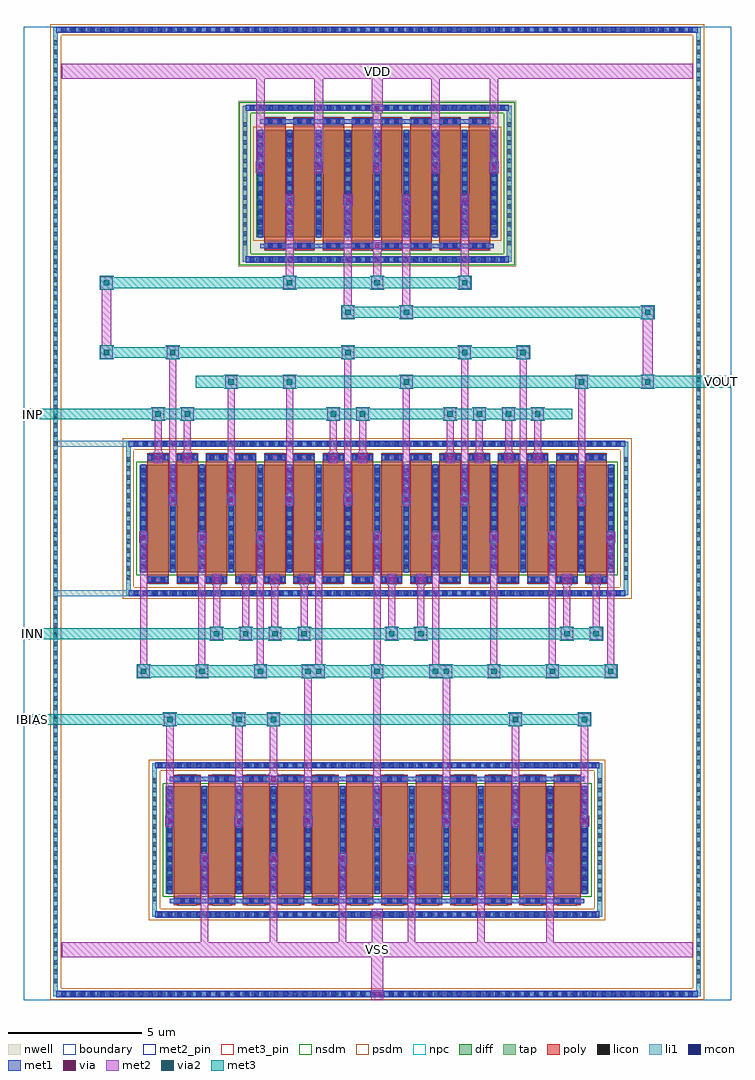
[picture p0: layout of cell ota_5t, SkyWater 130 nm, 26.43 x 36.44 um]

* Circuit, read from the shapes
.subckt ota_5t IBIAS INN INP VDD VOUT VSS
XM1 n1 INP n2 VSS sky130_fd_pr__nfet_01v8 w=4 l=0.8 m=8
XM2 VSS IBIAS IBIAS VSS sky130_fd_pr__nfet_01v8 w=4 l=1 m=6
XM3 VOUT INN n2 VSS sky130_fd_pr__nfet_01v8 w=4 l=0.8 m=8
XM4 n2 IBIAS VSS VSS sky130_fd_pr__nfet_01v8 w=4 l=1 m=6
XM5 n1 n1 VDD VDD sky130_fd_pr__pfet_01v8 w=4 l=0.8 m=4
XM6 VOUT n1 VDD VDD sky130_fd_pr__pfet_01v8 w=4 l=0.8 m=4
.ends

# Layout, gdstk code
import gdstk
lib = gdstk.Library(unit=1e-6, precision=1e-09)
def R(c, l, rs):  # rectangles x0, y0, x1, y1
    for r in rs: c.add(gdstk.rectangle(r[:2], r[2:], *l))
def A(c, l, x, y, w, h, nx, ny, dx, dy):  # array of equal rectangles
    R(c, l, [(x+i*dx, y+j*dy, x+i*dx+w, y+j*dy+h) for i in range(nx) for j in range(ny)])
nwell = (64, 20)
diff = (65, 20)
tap = (65, 44)
poly = (66, 20)
licon = (66, 44)
li1 = (67, 20)
mcon = (67, 44)
met1 = (68, 20)
via = (68, 44)
met2_pin = (69, 16)
met2 = (69, 20)
via2 = (69, 44)
met3_pin = (70, 16)
met3 = (70, 20)
nsdm = (93, 44)
psdm = (94, 20)
npc = (95, 20)
boundary = (235, 4)

gr_ota = lib.new_cell('gr_ota')
R(gr_ota, tap, [(-12.085,-18.085,12.085,-17.915), (-12.085,-17.915,-11.915,17.915), (11.915,-17.915,12.085,17.915), (-12.085,17.915,12.085,18.085)])
A(gr_ota, licon, -11.475, -18.085, 0.17, 0.17, 68, 2, 0.34, 36)
A(gr_ota, licon, -12.085, -17.595, 0.17, 0.17, 1, 104, 0, 0.34)
A(gr_ota, licon, 11.915, -17.595, 0.17, 0.17, 1, 104, 0, 0.34)
R(gr_ota, li1, [(-12.085,-18.085,12.085,-17.915), (-12.085,-17.915,-11.915,17.915), (11.915,-17.915,12.085,17.915), (-12.085,17.915,12.085,18.085)])
A(gr_ota, mcon, -11.785, -18.085, 0.17, 0.17, 66, 2, 0.36, 36)
R(gr_ota, met1, [(-11.975,-18.115,11.975,-17.885), (-11.975,17.885,11.975,18.115)])
R(gr_ota, psdm, [(-12.21,-18.21,12.21,-17.79), (-12.21,-17.79,-11.79,17.79), (11.79,-17.79,12.21,17.79), (-12.21,17.79,12.21,18.21)])
R(gr_ota, boundary, [(-12,-18,12,18)])

dev_n_ota_m56 = lib.new_cell('dev_n_ota_m56')
R(dev_n_ota_m56, diff, [(-7.885,-2,7.885,2)])
R(dev_n_ota_m56, tap, [(-8.395,-2.87,8.395,-2.7), (-8.395,-2.7,-8.225,2.7), (8.225,-2.7,8.395,2.7), (-8.395,2.7,8.395,2.87)])
A(dev_n_ota_m56, poly, -7.595, -2.44, 1, 4.88, 12, 1, 1.29, 0)
A(dev_n_ota_m56, licon, -7.905, -2.87, 0.17, 0.17, 47, 2, 0.34, 5.57)
A(dev_n_ota_m56, licon, -8.395, -2.295, 0.17, 0.17, 1, 14, 0, 0.34)
A(dev_n_ota_m56, licon, 8.225, -2.295, 0.17, 0.17, 1, 14, 0, 0.34)
A(dev_n_ota_m56, licon, -7.825, -1.785, 0.17, 0.17, 13, 11, 1.29, 0.34)
R(dev_n_ota_m56, licon, [(-7.35,-2.36,-7.18,-2.19), (-7.01,-2.36,-6.84,-2.19), (-6.06,-2.36,-5.89,-2.19), (-5.72,-2.36,-5.55,-2.19), (-4.77,-2.36,-4.6,-2.19), (-4.43,-2.36,-4.26,-2.19), (-3.48,-2.36,-3.31,-2.19), (-3.14,-2.36,-2.97,-2.19), (-2.19,-2.36,-2.02,-2.19), (-1.85,-2.36,-1.68,-2.19), (-0.9,-2.36,-0.73,-2.19), (-0.56,-2.36,-0.39,-2.19), (0.39,-2.36,0.56,-2.19), (0.73,-2.36,0.9,-2.19), (1.68,-2.36,1.85,-2.19), (2.02,-2.36,2.19,-2.19), (2.97,-2.36,3.14,-2.19), (3.31,-2.36,3.48,-2.19), (4.26,-2.36,4.43,-2.19), (4.6,-2.36,4.77,-2.19), (5.55,-2.36,5.72,-2.19), (5.89,-2.36,6.06,-2.19), (6.84,-2.36,7.01,-2.19), (7.18,-2.36,7.35,-2.19), (-7.35,2.19,-7.18,2.36), (-7.01,2.19,-6.84,2.36), (-6.06,2.19,-5.89,2.36), (-5.72,2.19,-5.55,2.36), (-4.77,2.19,-4.6,2.36), (-4.43,2.19,-4.26,2.36), (-3.48,2.19,-3.31,2.36), (-3.14,2.19,-2.97,2.36), (-2.19,2.19,-2.02,2.36), (-1.85,2.19,-1.68,2.36), (-0.9,2.19,-0.73,2.36), (-0.56,2.19,-0.39,2.36), (0.39,2.19,0.56,2.36), (0.73,2.19,0.9,2.36), (1.68,2.19,1.85,2.36), (2.02,2.19,2.19,2.36), (2.97,2.19,3.14,2.36), (3.31,2.19,3.48,2.36), (4.26,2.19,4.43,2.36), (4.6,2.19,4.77,2.36), (5.55,2.19,5.72,2.36), (5.89,2.19,6.06,2.36), (6.84,2.19,7.01,2.36), (7.18,2.19,7.35,2.36)])
A(dev_n_ota_m56, li1, -7.825, -2.02, 0.17, 4.04, 13, 1, 1.29, 0)
R(dev_n_ota_m56, li1, [(-8.395,-2.87,8.395,-2.7), (-8.395,-2.7,-8.225,2.7), (8.225,-2.7,8.395,2.7), (-7.74,-2.36,7.74,-2.19), (-7.74,2.19,7.74,2.36), (-8.395,2.7,8.395,2.87)])
A(dev_n_ota_m56, mcon, -8.185, -2.87, 0.17, 0.17, 46, 2, 0.36, 5.57)
A(dev_n_ota_m56, mcon, -7.825, -1.885, 0.17, 0.17, 13, 11, 1.29, 0.36)
R(dev_n_ota_m56, mcon, [(-7.36,-2.36,-7.19,-2.19), (-7,-2.36,-6.83,-2.19), (-6.07,-2.36,-5.9,-2.19), (-5.71,-2.36,-5.54,-2.19), (-4.78,-2.36,-4.61,-2.19), (-4.42,-2.36,-4.25,-2.19), (-3.49,-2.36,-3.32,-2.19), (-3.13,-2.36,-2.96,-2.19), (-2.2,-2.36,-2.03,-2.19), (-1.84,-2.36,-1.67,-2.19), (-0.91,-2.36,-0.74,-2.19), (-0.55,-2.36,-0.38,-2.19), (0.38,-2.36,0.55,-2.19), (0.74,-2.36,0.91,-2.19), (1.67,-2.36,1.84,-2.19), (2.03,-2.36,2.2,-2.19), (2.96,-2.36,3.13,-2.19), (3.32,-2.36,3.49,-2.19), (4.25,-2.36,4.42,-2.19), (4.61,-2.36,4.78,-2.19), (5.54,-2.36,5.71,-2.19), (5.9,-2.36,6.07,-2.19), (6.83,-2.36,7,-2.19), (7.19,-2.36,7.36,-2.19), (-7.36,2.19,-7.19,2.36), (-7,2.19,-6.83,2.36), (-6.07,2.19,-5.9,2.36), (-5.71,2.19,-5.54,2.36), (-4.78,2.19,-4.61,2.36), (-4.42,2.19,-4.25,2.36), (-3.49,2.19,-3.32,2.36), (-3.13,2.19,-2.96,2.36), (-2.2,2.19,-2.03,2.36), (-1.84,2.19,-1.67,2.36), (-0.91,2.19,-0.74,2.36), (-0.55,2.19,-0.38,2.36), (0.38,2.19,0.55,2.36), (0.74,2.19,0.91,2.36), (1.67,2.19,1.84,2.36), (2.03,2.19,2.2,2.36), (2.96,2.19,3.13,2.36), (3.32,2.19,3.49,2.36), (4.25,2.19,4.42,2.36), (4.61,2.19,4.78,2.36), (5.54,2.19,5.71,2.36), (5.9,2.19,6.07,2.36), (6.83,2.19,7,2.36), (7.19,2.19,7.36,2.36)])
A(dev_n_ota_m56, met1, -7.575, -2.39, 0.96, 0.03, 12, 2, 1.29, 0.2)
A(dev_n_ota_m56, met1, -7.855, -2, 0.23, 4, 13, 1, 1.29, 0)
A(dev_n_ota_m56, met1, -7.575, 2.16, 0.96, 0.03, 12, 2, 1.29, 0.2)
R(dev_n_ota_m56, met1, [(-8.285,-2.9,8.285,-2.67), (-7.74,-2.36,7.74,-2.19), (-7.74,2.19,7.74,2.36), (-8.285,2.67,8.285,2.9)])
R(dev_n_ota_m56, nsdm, [(-8.01,-2.125,8.01,2.125)])
R(dev_n_ota_m56, psdm, [(-8.52,-2.995,8.52,-2.575), (-8.52,-2.575,-8.1,2.575), (8.1,-2.575,8.52,2.575), (-8.52,2.575,8.52,2.995)])
A(dev_n_ota_m56, npc, -7.45, -2.46, 0.71, 0.37, 12, 2, 1.29, 4.55)
R(dev_n_ota_m56, boundary, [(-8.31,-2.785,8.31,2.785)])

dev_n_ota_m12 = lib.new_cell('dev_n_ota_m12')
R(dev_n_ota_m12, diff, [(-8.865,-2,8.865,2)])
R(dev_n_ota_m12, tap, [(-9.375,-2.87,9.375,-2.7), (-9.375,-2.7,-9.205,2.7), (9.205,-2.7,9.375,2.7), (-9.375,2.7,9.375,2.87)])
A(dev_n_ota_m12, poly, -8.575, -2.44, 0.8, 4.88, 16, 1, 1.09, 0)
A(dev_n_ota_m12, licon, -8.755, -2.87, 0.17, 0.17, 52, 2, 0.34, 5.57)
A(dev_n_ota_m12, licon, -9.375, -2.295, 0.17, 0.17, 1, 14, 0, 0.34)
A(dev_n_ota_m12, licon, 9.205, -2.295, 0.17, 0.17, 1, 14, 0, 0.34)
A(dev_n_ota_m12, licon, -8.805, -1.785, 0.17, 0.17, 17, 11, 1.09, 0.34)
R(dev_n_ota_m12, licon, [(-8.43,-2.36,-8.26,-2.19), (-8.09,-2.36,-7.92,-2.19), (-7.34,-2.36,-7.17,-2.19), (-7,-2.36,-6.83,-2.19), (-6.25,-2.36,-6.08,-2.19), (-5.91,-2.36,-5.74,-2.19), (-5.16,-2.36,-4.99,-2.19), (-4.82,-2.36,-4.65,-2.19), (-4.07,-2.36,-3.9,-2.19), (-3.73,-2.36,-3.56,-2.19), (-2.98,-2.36,-2.81,-2.19), (-2.64,-2.36,-2.47,-2.19), (-1.89,-2.36,-1.72,-2.19), (-1.55,-2.36,-1.38,-2.19), (-0.8,-2.36,-0.63,-2.19), (-0.46,-2.36,-0.29,-2.19), (0.29,-2.36,0.46,-2.19), (0.63,-2.36,0.8,-2.19), (1.38,-2.36,1.55,-2.19), (1.72,-2.36,1.89,-2.19), (2.47,-2.36,2.64,-2.19), (2.81,-2.36,2.98,-2.19), (3.56,-2.36,3.73,-2.19), (3.9,-2.36,4.07,-2.19), (4.65,-2.36,4.82,-2.19), (4.99,-2.36,5.16,-2.19), (5.74,-2.36,5.91,-2.19), (6.08,-2.36,6.25,-2.19), (6.83,-2.36,7,-2.19), (7.17,-2.36,7.34,-2.19), (7.92,-2.36,8.09,-2.19), (8.26,-2.36,8.43,-2.19), (-8.43,2.19,-8.26,2.36), (-8.09,2.19,-7.92,2.36), (-7.34,2.19,-7.17,2.36), (-7,2.19,-6.83,2.36), (-6.25,2.19,-6.08,2.36), (-5.91,2.19,-5.74,2.36), (-5.16,2.19,-4.99,2.36), (-4.82,2.19,-4.65,2.36), (-4.07,2.19,-3.9,2.36), (-3.73,2.19,-3.56,2.36), (-2.98,2.19,-2.81,2.36), (-2.64,2.19,-2.47,2.36), (-1.89,2.19,-1.72,2.36), (-1.55,2.19,-1.38,2.36), (-0.8,2.19,-0.63,2.36), (-0.46,2.19,-0.29,2.36), (0.29,2.19,0.46,2.36), (0.63,2.19,0.8,2.36), (1.38,2.19,1.55,2.36), (1.72,2.19,1.89,2.36), (2.47,2.19,2.64,2.36), (2.81,2.19,2.98,2.36), (3.56,2.19,3.73,2.36), (3.9,2.19,4.07,2.36), (4.65,2.19,4.82,2.36), (4.99,2.19,5.16,2.36), (5.74,2.19,5.91,2.36), (6.08,2.19,6.25,2.36), (6.83,2.19,7,2.36), (7.17,2.19,7.34,2.36), (7.92,2.19,8.09,2.36), (8.26,2.19,8.43,2.36)])
A(dev_n_ota_m12, li1, -8.575, -2.36, 0.8, 0.17, 16, 2, 1.09, 4.55)
A(dev_n_ota_m12, li1, -8.805, -2.02, 0.17, 4.04, 17, 1, 1.09, 0)
R(dev_n_ota_m12, li1, [(-9.375,-2.87,9.375,-2.7), (-9.375,-2.7,-9.205,2.7), (9.205,-2.7,9.375,2.7), (-9.375,2.7,9.375,2.87)])
A(dev_n_ota_m12, mcon, -9.085, -2.87, 0.17, 0.17, 51, 2, 0.36, 5.57)
A(dev_n_ota_m12, mcon, -8.805, -1.885, 0.17, 0.17, 17, 11, 1.09, 0.36)
R(dev_n_ota_m12, mcon, [(-8.44,-2.36,-8.27,-2.19), (-8.08,-2.36,-7.91,-2.19), (-7.35,-2.36,-7.18,-2.19), (-6.99,-2.36,-6.82,-2.19), (-6.26,-2.36,-6.09,-2.19), (-5.9,-2.36,-5.73,-2.19), (-5.17,-2.36,-5,-2.19), (-4.81,-2.36,-4.64,-2.19), (-4.08,-2.36,-3.91,-2.19), (-3.72,-2.36,-3.55,-2.19), (-2.99,-2.36,-2.82,-2.19), (-2.63,-2.36,-2.46,-2.19), (-1.9,-2.36,-1.73,-2.19), (-1.54,-2.36,-1.37,-2.19), (-0.81,-2.36,-0.64,-2.19), (-0.45,-2.36,-0.28,-2.19), (0.28,-2.36,0.45,-2.19), (0.64,-2.36,0.81,-2.19), (1.37,-2.36,1.54,-2.19), (1.73,-2.36,1.9,-2.19), (2.46,-2.36,2.63,-2.19), (2.82,-2.36,2.99,-2.19), (3.55,-2.36,3.72,-2.19), (3.91,-2.36,4.08,-2.19), (4.64,-2.36,4.81,-2.19), (5,-2.36,5.17,-2.19), (5.73,-2.36,5.9,-2.19), (6.09,-2.36,6.26,-2.19), (6.82,-2.36,6.99,-2.19), (7.18,-2.36,7.35,-2.19), (7.91,-2.36,8.08,-2.19), (8.27,-2.36,8.44,-2.19), (-8.44,2.19,-8.27,2.36), (-8.08,2.19,-7.91,2.36), (-7.35,2.19,-7.18,2.36), (-6.99,2.19,-6.82,2.36), (-6.26,2.19,-6.09,2.36), (-5.9,2.19,-5.73,2.36), (-5.17,2.19,-5,2.36), (-4.81,2.19,-4.64,2.36), (-4.08,2.19,-3.91,2.36), (-3.72,2.19,-3.55,2.36), (-2.99,2.19,-2.82,2.36), (-2.63,2.19,-2.46,2.36), (-1.9,2.19,-1.73,2.36), (-1.54,2.19,-1.37,2.36), (-0.81,2.19,-0.64,2.36), (-0.45,2.19,-0.28,2.36), (0.28,2.19,0.45,2.36), (0.64,2.19,0.81,2.36), (1.37,2.19,1.54,2.36), (1.73,2.19,1.9,2.36), (2.46,2.19,2.63,2.36), (2.82,2.19,2.99,2.36), (3.55,2.19,3.72,2.36), (3.91,2.19,4.08,2.36), (4.64,2.19,4.81,2.36), (5,2.19,5.17,2.36), (5.73,2.19,5.9,2.36), (6.09,2.19,6.26,2.36), (6.82,2.19,6.99,2.36), (7.18,2.19,7.35,2.36), (7.91,2.19,8.08,2.36), (8.27,2.19,8.44,2.36)])
A(dev_n_ota_m12, met1, -8.555, -2.39, 0.76, 0.23, 16, 2, 1.09, 4.55)
A(dev_n_ota_m12, met1, -8.835, -2, 0.23, 4, 17, 1, 1.09, 0)
R(dev_n_ota_m12, met1, [(-9.265,-2.9,9.265,-2.67), (-9.265,2.67,9.265,2.9)])
R(dev_n_ota_m12, nsdm, [(-8.99,-2.125,8.99,2.125)])
R(dev_n_ota_m12, psdm, [(-9.5,-2.995,9.5,-2.575), (-9.5,-2.575,-9.08,2.575), (9.08,-2.575,9.5,2.575), (-9.5,2.575,9.5,2.995)])
A(dev_n_ota_m12, npc, -8.53, -2.46, 0.71, 0.37, 16, 2, 1.09, 4.55)
R(dev_n_ota_m12, boundary, [(-9.29,-2.785,9.29,2.785)])

dev_p_ota_m34 = lib.new_cell('dev_p_ota_m34')
R(dev_p_ota_m34, nwell, [(-5.195,-3.095,5.195,3.095)])
R(dev_p_ota_m34, diff, [(-4.505,-2,4.505,2)])
R(dev_p_ota_m34, tap, [(-5.015,-2.915,5.015,-2.745), (-5.015,-2.745,-4.845,2.745), (4.845,-2.745,5.015,2.745), (-5.015,2.745,5.015,2.915)])
A(dev_p_ota_m34, poly, -4.215, -2.485, 0.8, 4.97, 8, 1, 1.09, 0)
A(dev_p_ota_m34, licon, -4.505, -2.915, 0.17, 0.17, 27, 2, 0.34, 5.66)
A(dev_p_ota_m34, licon, -5.015, -2.295, 0.17, 0.17, 1, 14, 0, 0.34)
A(dev_p_ota_m34, licon, 4.845, -2.295, 0.17, 0.17, 1, 14, 0, 0.34)
A(dev_p_ota_m34, licon, -4.445, -1.785, 0.17, 0.17, 9, 11, 1.09, 0.34)
R(dev_p_ota_m34, licon, [(-4.07,-2.405,-3.9,-2.235), (-3.73,-2.405,-3.56,-2.235), (-2.98,-2.405,-2.81,-2.235), (-2.64,-2.405,-2.47,-2.235), (-1.89,-2.405,-1.72,-2.235), (-1.55,-2.405,-1.38,-2.235), (-0.8,-2.405,-0.63,-2.235), (-0.46,-2.405,-0.29,-2.235), (0.29,-2.405,0.46,-2.235), (0.63,-2.405,0.8,-2.235), (1.38,-2.405,1.55,-2.235), (1.72,-2.405,1.89,-2.235), (2.47,-2.405,2.64,-2.235), (2.81,-2.405,2.98,-2.235), (3.56,-2.405,3.73,-2.235), (3.9,-2.405,4.07,-2.235), (-4.07,2.235,-3.9,2.405), (-3.73,2.235,-3.56,2.405), (-2.98,2.235,-2.81,2.405), (-2.64,2.235,-2.47,2.405), (-1.89,2.235,-1.72,2.405), (-1.55,2.235,-1.38,2.405), (-0.8,2.235,-0.63,2.405), (-0.46,2.235,-0.29,2.405), (0.29,2.235,0.46,2.405), (0.63,2.235,0.8,2.405), (1.38,2.235,1.55,2.405), (1.72,2.235,1.89,2.405), (2.47,2.235,2.64,2.405), (2.81,2.235,2.98,2.405), (3.56,2.235,3.73,2.405), (3.9,2.235,4.07,2.405)])
A(dev_p_ota_m34, li1, -4.445, -2.02, 0.17, 4.04, 9, 1, 1.09, 0)
R(dev_p_ota_m34, li1, [(-5.015,-2.915,5.015,-2.745), (-5.015,-2.745,-4.845,2.745), (4.845,-2.745,5.015,2.745), (-4.36,-2.405,4.36,-2.235), (-4.36,2.235,4.36,2.405), (-5.015,2.745,5.015,2.915)])
A(dev_p_ota_m34, mcon, -4.765, -2.915, 0.17, 0.17, 27, 2, 0.36, 5.66)
A(dev_p_ota_m34, mcon, -4.445, -1.885, 0.17, 0.17, 9, 11, 1.09, 0.36)
R(dev_p_ota_m34, mcon, [(-4.08,-2.405,-3.91,-2.235), (-3.72,-2.405,-3.55,-2.235), (-2.99,-2.405,-2.82,-2.235), (-2.63,-2.405,-2.46,-2.235), (-1.9,-2.405,-1.73,-2.235), (-1.54,-2.405,-1.37,-2.235), (-0.81,-2.405,-0.64,-2.235), (-0.45,-2.405,-0.28,-2.235), (0.28,-2.405,0.45,-2.235), (0.64,-2.405,0.81,-2.235), (1.37,-2.405,1.54,-2.235), (1.73,-2.405,1.9,-2.235), (2.46,-2.405,2.63,-2.235), (2.82,-2.405,2.99,-2.235), (3.55,-2.405,3.72,-2.235), (3.91,-2.405,4.08,-2.235), (-4.08,2.235,-3.91,2.405), (-3.72,2.235,-3.55,2.405), (-2.99,2.235,-2.82,2.405), (-2.63,2.235,-2.46,2.405), (-1.9,2.235,-1.73,2.405), (-1.54,2.235,-1.37,2.405), (-0.81,2.235,-0.64,2.405), (-0.45,2.235,-0.28,2.405), (0.28,2.235,0.45,2.405), (0.64,2.235,0.81,2.405), (1.37,2.235,1.54,2.405), (1.73,2.235,1.9,2.405), (2.46,2.235,2.63,2.405), (2.82,2.235,2.99,2.405), (3.55,2.235,3.72,2.405), (3.91,2.235,4.08,2.405)])
A(dev_p_ota_m34, met1, -4.195, -2.435, 0.76, 0.03, 8, 2, 1.09, 0.2)
A(dev_p_ota_m34, met1, -4.475, -2, 0.23, 4, 9, 1, 1.09, 0)
A(dev_p_ota_m34, met1, -4.195, 2.205, 0.76, 0.03, 8, 2, 1.09, 0.2)
R(dev_p_ota_m34, met1, [(-4.905,-2.945,4.905,-2.715), (-4.36,-2.405,4.36,-2.235), (-4.36,2.235,4.36,2.405), (-4.905,2.715,4.905,2.945)])
R(dev_p_ota_m34, nsdm, [(-5.14,-3.04,5.14,-2.62), (-5.14,-2.62,-4.72,2.62), (4.72,-2.62,5.14,2.62), (-5.14,2.62,5.14,3.04)])
R(dev_p_ota_m34, psdm, [(-4.63,-2.125,4.63,2.125)])
A(dev_p_ota_m34, npc, -4.17, -2.505, 0.71, 0.37, 8, 2, 1.09, 4.64)
R(dev_p_ota_m34, boundary, [(-4.93,-2.83,4.93,2.83)])

ota_5t = lib.new_cell('ota_5t')
R(ota_5t, li1, [(-12.1,-2.9,-9.2,-2.67), (-12.1,2.67,-9.2,2.9)])
A(ota_5t, met1, -6.58, -12.91, 0.26, 0.42, 6, 1, 2.58, 0)
A(ota_5t, met1, -7.87, -11.51, 0.26, 0.42, 7, 1, 2.58, 0)
A(ota_5t, met1, -6.195, -2.405, 0.4, 0.26, 4, 1, 1.09, 0)
A(ota_5t, met1, -8.85, -0.91, 0.26, 0.42, 9, 1, 2.18, 0)
A(ota_5t, met1, -7.76, 0.49, 0.26, 0.42, 8, 1, 2.18, 0)
A(ota_5t, met1, 2.525, 2.145, 0.4, 0.26, 4, 1, 1.09, 0)
A(ota_5t, met1, -3.4, 11.69, 0.26, 0.42, 4, 1, 2.18, 0)
A(ota_5t, met1, -4.49, 12.89, 0.26, 0.42, 5, 1, 2.18, 0)
R(ota_5t, met1, [(-0.2,-17.88,0.2,-17.62), (-0.2,-14.915,0.2,-14.655), (-4.07,-9.855,-3.67,-9.595), (0.345,-2.405,0.745,-2.145), (1.435,-2.405,1.835,-2.145), (6.885,-2.405,7.285,-2.145), (7.975,-2.405,8.375,-2.145), (-8.375,2.145,-7.975,2.405), (-7.285,2.145,-6.885,2.405), (-1.835,2.145,-1.435,2.405), (-0.745,2.145,-0.345,2.405), (-0.2,10.05,0.2,10.31), (-0.2,15.2,0.2,15.46)])
A(ota_5t, via, -6.525, -12.775, 0.15, 0.15, 6, 1, 2.58, 0)
A(ota_5t, via, -7.815, -11.375, 0.15, 0.15, 7, 1, 2.58, 0)
A(ota_5t, via, -6.07, -2.35, 0.15, 0.15, 4, 1, 1.09, 0)
A(ota_5t, via, -8.795, -0.775, 0.15, 0.15, 9, 1, 2.18, 0)
A(ota_5t, via, -7.705, 0.625, 0.15, 0.15, 8, 1, 2.18, 0)
A(ota_5t, via, 2.65, 2.2, 0.15, 0.15, 4, 1, 1.09, 0)
A(ota_5t, via, -3.345, 11.825, 0.15, 0.15, 4, 1, 2.18, 0)
A(ota_5t, via, -4.435, 13.025, 0.15, 0.15, 5, 1, 2.18, 0)
R(ota_5t, via, [(-0.075,-17.825,0.075,-17.675), (-0.075,-14.86,0.075,-14.71), (-3.945,-9.8,-3.795,-9.65), (0.47,-2.35,0.62,-2.2), (1.56,-2.35,1.71,-2.2), (7.01,-2.35,7.16,-2.2), (8.1,-2.35,8.25,-2.2), (-8.25,2.2,-8.1,2.35), (-7.16,2.2,-7.01,2.35), (-1.71,2.2,-1.56,2.35), (-0.62,2.2,-0.47,2.35), (-0.075,10.105,0.075,10.255), (-0.075,15.255,0.075,15.405)])
R(ota_5t, met2_pin, [(-0.2,-16.25,0.2,-15.95), (-0.2,16.55,0.2,16.85)])
A(ota_5t, met2, -6.59, -15.825, 0.28, 2.915, 6, 1, 2.58, 0)
A(ota_5t, met2, -6.62, -12.91, 0.34, 0.42, 6, 1, 2.58, 0)
A(ota_5t, met2, -7.91, -11.51, 0.34, 0.42, 7, 1, 2.58, 0)
A(ota_5t, met2, -2.72, -11.09, 0.28, 5.16, 3, 1, 2.58, 0)
A(ota_5t, met2, -8.95, -5.93, 0.46, 0.46, 3, 1, 2.18, 0)
A(ota_5t, met2, 4.13, -5.93, 0.46, 0.46, 3, 1, 2.18, 0)
A(ota_5t, met2, -8.85, -5.47, 0.26, 4.56, 9, 1, 2.18, 0)
A(ota_5t, met2, -6.225, -4.53, 0.46, 0.46, 4, 1, 1.09, 0)
A(ota_5t, met2, -6.125, -4.07, 0.26, 1.585, 4, 1, 1.09, 0)
A(ota_5t, met2, -6.165, -2.485, 0.34, 0.42, 4, 1, 1.09, 0)
A(ota_5t, met2, -8.89, -0.91, 0.34, 0.42, 9, 1, 2.18, 0)
A(ota_5t, met2, -7.8, 0.49, 0.34, 0.42, 8, 1, 2.18, 0)
A(ota_5t, met2, 2.555, 2.065, 0.34, 0.42, 4, 1, 1.09, 0)
A(ota_5t, met2, 2.595, 2.485, 0.26, 1.185, 4, 1, 1.09, 0)
A(ota_5t, met2, 2.495, 3.67, 0.46, 0.46, 4, 1, 1.09, 0)
A(ota_5t, met2, -3.5, 8.57, 0.46, 0.46, 3, 1, 3.27, 0)
A(ota_5t, met2, -3.44, 11.69, 0.34, 0.42, 4, 1, 2.18, 0)
A(ota_5t, met2, -4.53, 12.89, 0.34, 0.42, 5, 1, 2.18, 0)
R(ota_5t, met2, [(-0.225,-17.975,0.225,-16.375), (-11.775,-16.375,11.775,-15.825), (-0.2,-15.825,0.2,-14.585), (-0.17,-14.585,0.17,-14.575), (-7.88,-11.09,-7.6,-7.73), (-5.3,-11.09,-5.02,-7.73), (5.02,-11.09,5.3,-7.73), (7.6,-11.09,7.88,-7.73), (-4.04,-9.935,-3.7,-9.515), (-4.01,-9.515,-3.73,-7.73), (-7.97,-7.73,-7.51,-7.27), (-5.39,-7.73,-4.93,-7.27), (-4.1,-7.73,-3.64,-7.27), (4.93,-7.73,5.39,-7.27), (7.51,-7.73,7.97,-7.27), (-2.81,-5.93,-1.95,-5.47), (-0.23,-5.93,0.23,-5.47), (1.95,-5.93,2.81,-5.47), (0.315,-4.53,0.775,-4.07), (1.405,-4.53,1.865,-4.07), (6.855,-4.53,7.315,-4.07), (7.945,-4.53,8.405,-4.07), (0.415,-4.07,0.675,-2.485), (1.505,-4.07,1.765,-2.485), (6.955,-4.07,7.215,-2.485), (8.045,-4.07,8.305,-2.485), (0.375,-2.485,0.715,-2.065), (1.465,-2.485,1.805,-2.065), (6.915,-2.485,7.255,-2.065), (8.005,-2.485,8.345,-2.065), (-7.76,0.91,-7.5,5.97), (-5.58,0.91,-5.32,4.87), (-3.4,0.91,-3.14,4.87), (-1.22,0.91,-0.96,5.97), (0.96,0.91,1.22,4.87), (3.14,0.91,3.4,5.97), (5.32,0.91,5.58,5.97), (7.5,0.91,7.76,4.87), (-8.345,2.065,-8.005,2.485), (-7.255,2.065,-6.915,2.485), (-1.805,2.065,-1.465,2.485), (-0.715,2.065,-0.375,2.485), (-8.305,2.485,-8.045,3.67), (-7.215,2.485,-6.955,3.67), (-1.765,2.485,-1.505,3.67), (-0.675,2.485,-0.415,3.67), (-8.405,3.67,-7.945,4.13), (-7.315,3.67,-6.855,4.13), (-1.865,3.67,-1.405,4.13), (-0.775,3.67,-0.315,4.13), (-5.68,4.87,-5.22,5.33), (-3.5,4.87,-3.04,5.33), (0.86,4.87,1.32,5.33), (7.4,4.87,7.86,5.33), (9.87,4.87,10.33,5.33), (9.92,5.33,10.28,7.47), (-10.33,5.97,-9.87,6.43), (-7.86,5.97,-7.4,6.43), (-1.32,5.97,-0.86,6.43), (3.04,5.97,3.5,6.43), (5.22,5.97,5.68,6.43), (-10.28,6.43,-9.92,8.57), (-1.32,7.47,-0.86,7.93), (0.86,7.47,1.32,7.93), (9.87,7.47,10.33,7.93), (-1.24,7.93,-0.94,11.69), (0.94,7.93,1.24,11.69), (-10.33,8.57,-9.87,9.03), (-3.42,9.03,-3.12,11.69), (-0.15,9.03,0.15,9.97), (3.12,9.03,3.42,11.69), (-0.17,9.97,0.17,10.39), (-4.52,13.31,-4.2,16.425), (-2.34,13.31,-2.02,16.425), (-0.16,13.31,0.16,15.12), (2.02,13.31,2.34,16.425), (4.2,13.31,4.52,16.425), (-0.17,15.12,0.17,15.13), (-0.2,15.13,0.2,16.425), (-11.775,16.425,11.775,16.975)])
A(ota_5t, via2, -8.82, -5.8, 0.2, 0.2, 3, 1, 2.18, 0)
A(ota_5t, via2, -2.28, -5.8, 0.2, 0.2, 3, 1, 2.18, 0)
A(ota_5t, via2, 4.26, -5.8, 0.2, 0.2, 3, 1, 2.18, 0)
A(ota_5t, via2, -6.095, -4.4, 0.2, 0.2, 4, 1, 1.09, 0)
A(ota_5t, via2, 2.625, 3.8, 0.2, 0.2, 4, 1, 1.09, 0)
A(ota_5t, via2, -3.37, 8.7, 0.2, 0.2, 3, 1, 3.27, 0)
R(ota_5t, via2, [(-7.84,-7.6,-7.64,-7.4), (-5.26,-7.6,-5.06,-7.4), (-3.97,-7.6,-3.77,-7.4), (5.06,-7.6,5.26,-7.4), (7.64,-7.6,7.84,-7.4), (-2.68,-5.8,-2.48,-5.6), (2.48,-5.8,2.68,-5.6), (0.445,-4.4,0.645,-4.2), (1.535,-4.4,1.735,-4.2), (6.985,-4.4,7.185,-4.2), (8.075,-4.4,8.275,-4.2), (-8.275,3.8,-8.075,4), (-7.185,3.8,-6.985,4), (-1.735,3.8,-1.535,4), (-0.645,3.8,-0.445,4), (-5.55,5,-5.35,5.2), (-3.37,5,-3.17,5.2), (0.99,5,1.19,5.2), (7.53,5,7.73,5.2), (10,5,10.2,5.2), (-10.2,6.1,-10,6.3), (-7.73,6.1,-7.53,6.3), (-1.19,6.1,-0.99,6.3), (3.17,6.1,3.37,6.3), (5.35,6.1,5.55,6.3), (-1.19,7.6,-0.99,7.8), (0.99,7.6,1.19,7.8), (10,7.6,10.2,7.8), (-10.2,8.7,-10,8.9)])
R(ota_5t, met3_pin, [(-13,-7.625,-12.7,-7.375), (-13,-4.425,-12.7,-4.175), (-13,3.775,-12.7,4.025), (12.7,4.975,13,5.225)])
A(ota_5t, met3, -8.98, -5.96, 0.52, 0.035, 3, 2, 2.18, 0.485)
A(ota_5t, met3, 4.1, -5.96, 0.52, 0.035, 3, 2, 2.18, 0.485)
A(ota_5t, met3, -6.255, -4.56, 0.52, 0.06, 4, 2, 1.09, 0.46)
A(ota_5t, met3, 2.465, 3.64, 0.52, 0.06, 4, 2, 1.09, 0.46)
A(ota_5t, met3, -3.53, 8.54, 0.52, 0.06, 3, 2, 3.27, 0.46)
R(ota_5t, met3, [(-8,-7.76,-7.48,-7.7), (-5.42,-7.76,-4.9,-7.7), (-4.13,-7.76,-3.61,-7.7), (4.9,-7.76,5.42,-7.7), (7.48,-7.76,8,-7.7), (-13.2,-7.7,8,-7.3), (-8,-7.3,-7.48,-7.24), (-5.42,-7.3,-4.9,-7.24), (-4.13,-7.3,-3.61,-7.24), (4.9,-7.3,5.42,-7.24), (7.48,-7.3,8,-7.24), (-2.84,-5.96,-1.92,-5.925), (-0.26,-5.96,0.26,-5.925), (1.92,-5.96,2.84,-5.925), (-8.98,-5.925,8.98,-5.475), (-2.84,-5.475,-1.92,-5.44), (-0.26,-5.475,0.26,-5.44), (1.92,-5.475,2.84,-5.44), (0.285,-4.56,0.805,-4.5), (1.375,-4.56,1.895,-4.5), (6.825,-4.56,7.345,-4.5), (7.915,-4.56,8.435,-4.5), (-13.2,-4.5,8.435,-4.1), (0.285,-4.1,0.805,-4.04), (1.375,-4.1,1.895,-4.04), (6.825,-4.1,7.345,-4.04), (7.915,-4.1,8.435,-4.04), (-8.435,3.64,-7.915,3.7), (-7.345,3.64,-6.825,3.7), (-1.895,3.64,-1.375,3.7), (-0.805,3.64,-0.285,3.7), (-13.2,3.7,7.285,4.1), (-8.435,4.1,-7.915,4.16), (-7.345,4.1,-6.825,4.16), (-1.895,4.1,-1.375,4.16), (-0.805,4.1,-0.285,4.16), (-5.71,4.84,-5.19,4.875), (-3.53,4.84,-3.01,4.875), (0.83,4.84,1.35,4.875), (7.37,4.84,7.89,4.875), (9.84,4.84,10.36,4.875), (-6.765,4.875,13.225,5.325), (-5.71,5.325,-5.19,5.36), (-3.53,5.325,-3.01,5.36), (0.83,5.325,1.35,5.36), (7.37,5.325,7.89,5.36), (9.84,5.325,10.36,5.36), (-10.36,5.94,-9.84,6), (-7.89,5.94,-7.37,6), (-1.35,5.94,-0.83,6), (3.01,5.94,3.53,6), (5.19,5.94,5.71,6), (-10.36,6,5.71,6.4), (-10.36,6.4,-9.84,6.46), (-7.89,6.4,-7.37,6.46), (-1.35,6.4,-0.83,6.46), (3.01,6.4,3.53,6.46), (5.19,6.4,5.71,6.46), (-1.35,7.44,-0.83,7.5), (0.83,7.44,1.35,7.5), (9.84,7.44,10.36,7.5), (-1.35,7.5,10.36,7.9), (-1.35,7.9,-0.83,7.96), (0.83,7.9,1.35,7.96), (9.84,7.9,10.36,7.96), (-10.36,8.54,-9.84,8.6), (-10.36,8.6,3.53,9), (-10.36,9,-9.84,9.06)])
R(ota_5t, boundary, [(-13.2,-17.975,13.225,18.365)])
ota_5t.add(gdstk.Reference(gr_ota, (0,0.25)))
ota_5t.add(gdstk.Reference(dev_n_ota_m56, (0,-12)))
ota_5t.add(gdstk.Reference(dev_n_ota_m12, (0,0)))
ota_5t.add(gdstk.Reference(dev_p_ota_m34, (0,12.5)))
ota_5t.add(gdstk.Label('INP', (-12.85,3.9), layer=70, texttype=5))
ota_5t.add(gdstk.Label('INN', (-12.85,-4.3), layer=70, texttype=5))
ota_5t.add(gdstk.Label('IBIAS', (-12.85,-7.5), layer=70, texttype=5))
ota_5t.add(gdstk.Label('VOUT', (12.85,5.1), layer=70, texttype=5))
ota_5t.add(gdstk.Label('VDD', (0,16.7), layer=69, texttype=5))
ota_5t.add(gdstk.Label('VSS', (0,-16.1), layer=69, texttype=5))

lib.write_gds('ota_5t.gds')
